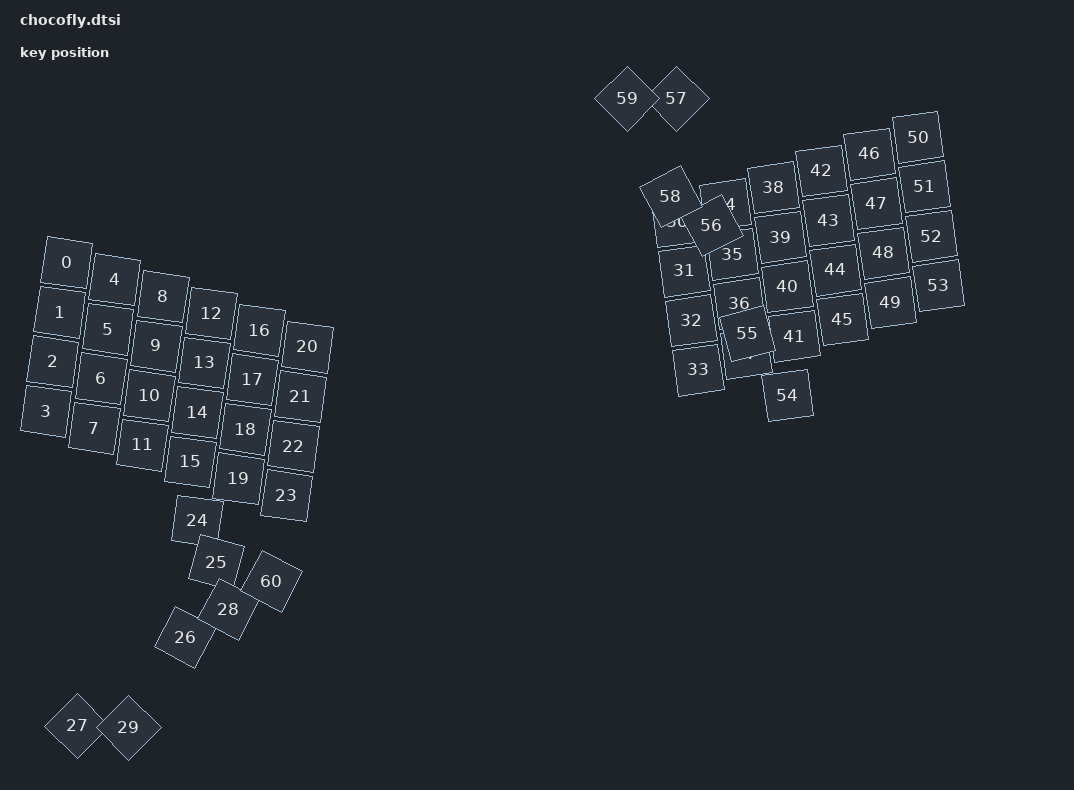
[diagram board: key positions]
#include <physical_layouts.dtsi>

/ {
    physical_layout0: physical_layout_0 {
        compatible = "zmk,physical-layout";
        display-name = "Default Layout";

        keys  //                     w   h    x    y     rot    rx    ry
            = <&key_physical_attrs 100 100    0    0     800     0     0>
            , <&key_physical_attrs 100 100    0  100     800     0     0>
            , <&key_physical_attrs 100 100    0  200     800     0     0>
            , <&key_physical_attrs 100 100    0  300     800     0     0>
            , <&key_physical_attrs 100 100  100   20     800     0     0>
            , <&key_physical_attrs 100 100  100  120     800     0     0>
            , <&key_physical_attrs 100 100  100  220     800     0     0>
            , <&key_physical_attrs 100 100  100  320     800     0     0>
            , <&key_physical_attrs 100 100  200   40     800     0     0>
            , <&key_physical_attrs 100 100  200  140     800     0     0>
            , <&key_physical_attrs 100 100  200  240     800     0     0>
            , <&key_physical_attrs 100 100  200  340     800     0     0>
            , <&key_physical_attrs 100 100  300   60     800     0     0>
            , <&key_physical_attrs 100 100  300  160     800     0     0>
            , <&key_physical_attrs 100 100  300  260     800     0     0>
            , <&key_physical_attrs 100 100  300  360     800     0     0>
            , <&key_physical_attrs 100 100  400   80     800     0     0>
            , <&key_physical_attrs 100 100  400  180     800     0     0>
            , <&key_physical_attrs 100 100  400  280     800     0     0>
            , <&key_physical_attrs 100 100  400  380     800     0     0>
            , <&key_physical_attrs 100 100  500  100     800     0     0>
            , <&key_physical_attrs 100 100  500  200     800     0     0>
            , <&key_physical_attrs 100 100  500  300     800     0     0>
            , <&key_physical_attrs 100 100  500  400     800     0     0>
            , <&key_physical_attrs 100 100  330  475     800     0     0>
            , <&key_physical_attrs 100 100  450  495    1500     0     0>
            , <&key_physical_attrs 100 100  575  530    2800     0     0>
            , <&key_physical_attrs 100 100  690  600    4500     0     0>
            , <&key_physical_attrs 100 100  625  440    2800     0     0>
            , <&key_physical_attrs 100 100  765  530    4500     0     0>
            , <&key_physical_attrs 100 100 1205  100  (-800)     0     0>
            , <&key_physical_attrs 100 100 1205  200  (-800)     0     0>
            , <&key_physical_attrs 100 100 1205  300  (-800)     0     0>
            , <&key_physical_attrs 100 100 1205  400  (-800)     0     0>
            , <&key_physical_attrs 100 100 1305   80  (-800)     0     0>
            , <&key_physical_attrs 100 100 1305  180  (-800)     0     0>
            , <&key_physical_attrs 100 100 1305  280  (-800)     0     0>
            , <&key_physical_attrs 100 100 1305  380  (-800)     0     0>
            , <&key_physical_attrs 100 100 1405   60  (-800)     0     0>
            , <&key_physical_attrs 100 100 1405  160  (-800)     0     0>
            , <&key_physical_attrs 100 100 1405  260  (-800)     0     0>
            , <&key_physical_attrs 100 100 1405  360  (-800)     0     0>
            , <&key_physical_attrs 100 100 1505   40  (-800)     0     0>
            , <&key_physical_attrs 100 100 1505  140  (-800)     0     0>
            , <&key_physical_attrs 100 100 1505  240  (-800)     0     0>
            , <&key_physical_attrs 100 100 1505  340  (-800)     0     0>
            , <&key_physical_attrs 100 100 1605   20  (-800)     0     0>
            , <&key_physical_attrs 100 100 1605  120  (-800)     0     0>
            , <&key_physical_attrs 100 100 1605  220  (-800)     0     0>
            , <&key_physical_attrs 100 100 1605  320  (-800)     0     0>
            , <&key_physical_attrs 100 100 1705    0  (-800)     0     0>
            , <&key_physical_attrs 100 100 1705  100  (-800)     0     0>
            , <&key_physical_attrs 100 100 1705  200  (-800)     0     0>
            , <&key_physical_attrs 100 100 1705  300  (-800)     0     0>
            , <&key_physical_attrs 100 100 1375  475  (-800)     0     0>
            , <&key_physical_attrs 100 100 1255  505 (-1500)     0     0>
            , <&key_physical_attrs 100 100 1135  560 (-2800)     0     0>
            , <&key_physical_attrs 100 100 1035  650 (-4500)     0     0>
            , <&key_physical_attrs 100 100 1090  470 (-2800)     0     0>
            , <&key_physical_attrs 100 100  965  580 (-4500)     0     0>
            , <&key_physical_attrs 100 100  675  350    2800     0     0>
            ;
    };
};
